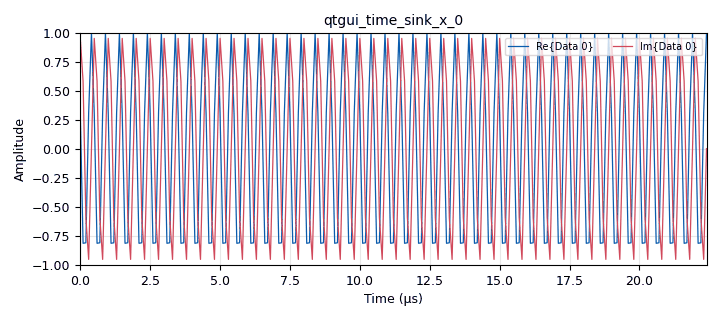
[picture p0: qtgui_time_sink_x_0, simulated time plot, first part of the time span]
options:
  parameters:
    generate_options: qt_gui
    id: tag_print
    output_language: python
    title: tag_print
  states: {}

blocks:
- name: attenuation
  id: variable_qtgui_range
  parameters:
    min_len: '100'
    start: '0'
    step: '10'
    stop: '255'
    value: '125'
  states: {}
- name: bandwidth
  id: variable_qtgui_range
  parameters:
    start: '1000'
    step: 1e6
    stop: 250e6
    value: sample_rate * 0.8
  states: {}
- name: frequency
  id: variable_qtgui_range
  parameters:
    label: Frequency
    min_len: '100'
    start: 500e6
    step: 1e6
    stop: 6000e6
    value: 1000e6
  states: {}
- name: min_output_buffer
  id: variable
  parameters:
    value: 32764 *2*2
  states: {}
- name: run_tx_calibration
  id: variable_qtgui_push_button
  parameters:
    pressed: '1'
    released: '0'
    type: int
    value: '0'
  states: {}
- name: sample_rate
  id: variable_qtgui_range
  parameters:
    start: '0'
    step: 1e6
    stop: 250e6
    value: 10e6
  states: {}
- name: tone_freq
  id: variable_qtgui_range
  parameters:
    start: 1e6
    step: 1e6
    stop: 25e6
    value: 2e6
  states: {}
- name: analog_sig_source_x_0
  id: analog_sig_source_x
  parameters:
    amp: '1'
    freq: tone_freq
    minoutbuf: min_output_buffer
    offset: '0'
    phase: '0'
    samp_rate: sample_rate
    type: complex
    waveform: analog.GR_COS_WAVE
  states: {}
- name: blocks_add_xx_0
  id: blocks_add_xx
  parameters:
    minoutbuf: min_output_buffer
    type: complex
  states: {}
- name: blocks_tags_strobe_0
  id: blocks_tags_strobe
  parameters:
    key: pmt.intern("rf_timestamp")
    nsamps: int(sample_rate * 4)
    type: complex
    value: pmt.to_pmt(5000000)
  states: {}
- name: blocks_throttle_0
  id: blocks_throttle
  parameters:
    samples_per_second: sample_rate
    type: complex
  states: {}
- name: epy_block_0
  id: epy_block
  parameters:
    _source_code: |
      """
      Embedded Python Blocks:

      Each time this file is saved, GRC will instantiate the first class it finds
      to get ports and parameters of your block. The arguments to __init__  will
      be the parameters. All of them are required to have default values!
      """

      import numpy as np
      from gnuradio import gr
      import pmt


      class blk(gr.sync_block):  # other base classes are basic_block, decim_block, interp_block
          """Embedded Python Block example - a simple multiply const"""

          ctr = 0
          last_sys = 0
          last_rf = 0

          def __init__(self,  sample_rate = 0):  # only default arguments here
              """arguments to this function show up as parameters in GRC"""
              gr.sync_block.__init__(
                  self,
                  name='Print Tags',   # will show up in GRC
                  in_sig=[np.complex64],
                  out_sig=[np.complex64]
             
              )
              print("init print tags")
                        
              # a callback is registered (properties work, too).
              self.sample_rate = sample_rate
              
              
          
          def work(self, input_items, output_items):
          
              output_items[0][:] = input_items[0] * 1
              
              #print("ts", len(input_items[0]))
              tags = self.get_tags_in_window(0, 0, len(input_items[0]))
              
              blk.ctr += 1

              if len(tags) > 0:
                  print("ctr", blk.ctr, "sample_rate", self.sample_rate, "tags", len(tags), "input_items", len(input_items[0]), "\n")
                  
                  for tag in tags:
                      key = pmt.to_python(tag.key) # convert from PMT to python string
                      value = pmt.to_python(tag.value) # Note that the type(value) can be several things, it depends what PMT type it was
                      print('key:', key)
                      print('value:', value, type(value))
                      
                      
                      if key == 'sys_timestamp':
                          delta = value - blk.last_sys
                          time = delta / 40000000
                          
                          print("delta: ", delta, "time: ", time)
                          blk.last_sys = value
                      
                      if key == 'rf_timestamp':
                          delta = value - blk.last_rf
                          time = delta / self.sample_rate
                          
                          print("delta: ", delta, "time: ", time)
                          blk.last_rf = value
                          
                          
                      print(" ")
                  
              
              return len(input_items[0])
    sample_rate: sample_rate
  states: {}
- name: qtgui_time_sink_x_0
  id: qtgui_time_sink_x
  parameters:
    size: '1024'
    srate: sample_rate
    type: complex
  states: {}

connections:
- [analog_sig_source_x_0, '0', blocks_add_xx_0, '0']
- [blocks_add_xx_0, '0', blocks_throttle_0, '0']
- [blocks_tags_strobe_0, '0', blocks_add_xx_0, '1']
- [blocks_throttle_0, '0', epy_block_0, '0']
- [epy_block_0, '0', qtgui_time_sink_x_0, '0']

metadata:
  file_format: 1
  grc_version: 3.10.3.0
